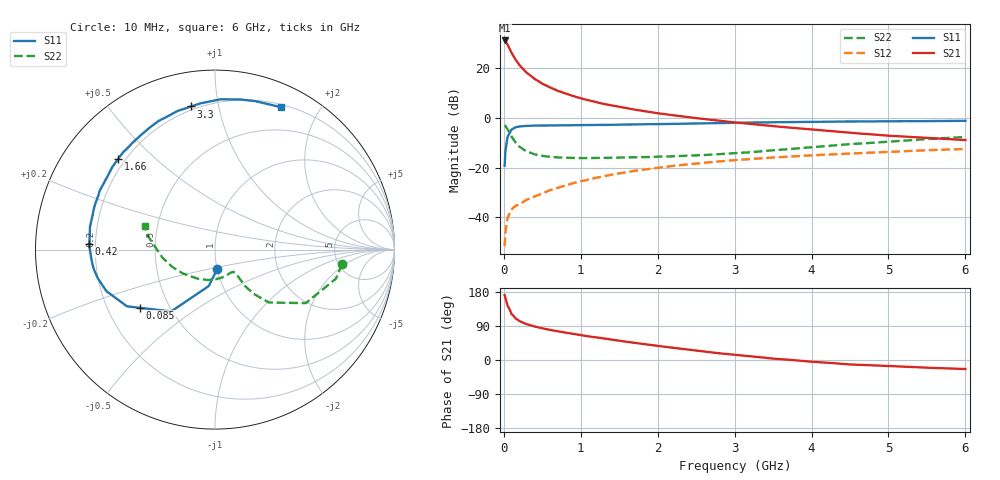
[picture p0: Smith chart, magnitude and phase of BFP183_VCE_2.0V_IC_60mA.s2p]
! Infineon Technologies  Discrete & RF Semiconductors
! BFP183
! VCE = 2.0 V,  IC =  60 mA
! Common Emitter S-Parameters:  Jan 2016
# GHz  S  MA  R  50
!  f  S11  S21  S12  S22
! GHz  MAG  ANG  MAG  ANG  MAG  ANG  MAG  ANG
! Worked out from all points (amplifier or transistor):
!   210 points, 10 MHz to 6 GHz, reference 50 ohm
!   highest |S21| = 31.2 dB at 10 MHz (marker M1)
!   |S21| within 3 dB of that: start of sweep to 69.75 MHz
!   unconditionally stable (mu >= 1): start of sweep to 39.71 MHz; 166.9 MHz to end of sweep
!   at 185 MHz: K = 1.07, MAG = 27.0 dB, |S12| = -35.0 dB
!   at 1.52 GHz: K = 1.74, MAG = 8.3 dB, |S12| = -22.2 dB
!   at 6 GHz: K = 1.39, MAG = -1.9 dB, |S12| = -12.5 dB
!   S11 on the Smith chart (normalised r, x): 10 MHz: 1.00, -0.22; 85 MHz: 0.34, -0.31; 420 MHz: 0.18, +0.02; 1.66 GHz: 0.17, +0.38; 3.3 GHz: 0.18, +0.83; 6 GHz: 0.23, +1.54
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0.01  0.1086 -83.4  36.47 171.5  0.0026 60.0  0.7132 -6.5
0.02  0.2059 -99.7  35.48 163.3  0.0048 66.9  0.6925 -13.6
0.05  0.4221 -125.3  29.87 142.0  0.0098 60.2  0.5873 -30.5
0.085  0.5281 -142.1  22.98 129.2  0.0129 51.0  0.4672 -39.3
0.1  0.5835 -147.2  20.54 121.3  0.0143 48.3  0.4204 -44.5
0.15  0.6481 -159.1  15.09 110.0  0.0168 45.4  0.3224 -49.1
0.2  0.6725 -166.3  11.75 103.0  0.0181 46.0  0.2664 -50.3
0.24  0.6829 -170.4  10.01 99.1  0.0197 47.9  0.2401 -50.1
0.3  0.6908 -175.7  8.069 94.2  0.0225 50.7  0.2102 -49.6
0.4  0.7009 178.4  6.122 88.2  0.0262 54.8  0.185 -48.9
0.42  0.7009 177.5  5.875 87.4  0.0269 55.2  0.1823 -48.9
0.5  0.7026 173.8  4.899 83.5  0.0299 56.4  0.1713 -49.0
0.7  0.7071 165.8  3.524 75.7  0.0389 60.6  0.1599 -50.9
1.02  0.7164 155.2  2.443 65.1  0.0534 61.7  0.1549 -58.0
1.3  0.7228 147.1  1.915 56.6  0.0668 60.3  0.1572 -65.8
1.66  0.7391 137.1  1.51 46.4  0.084 58.1  0.1607 -77.1
2.02  0.752 127.6  1.232 36.7  0.0999 54.7  0.1659 -89.5
3.1  0.802 103.2  0.785 11.8  0.1446 43.2  0.1983 -130.1
3.3  0.8086 99.4  0.732 8.0  0.1519 41.0  0.2093 -137.1
4.1  0.8389 86.4  0.567 -5.8  0.1794 32.5  0.2643 -161.2
5.1  0.8575 73.9  0.43 -16.7  0.2097 23.2  0.3396 176.1
6  0.8746 65.2  0.358 -23.8  0.2368 13.5  0.4133 161.6
